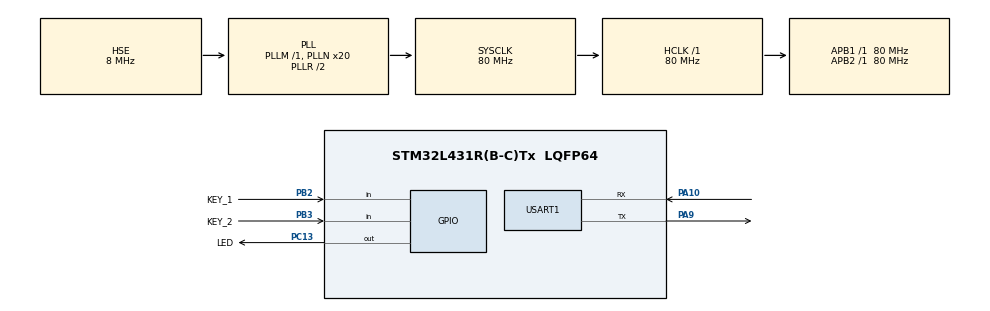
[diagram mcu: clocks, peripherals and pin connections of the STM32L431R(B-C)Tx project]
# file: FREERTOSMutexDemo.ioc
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FREERTOS.Mutexes01=myMutex01,Dynamic,NULL
FREERTOS.Tasks01=LowPriorityTask,-2,128,LowPriority,Default,NULL,Dynamic,NULL,NULL;MidPriorityTask,-1,128,MidPriority,Default,NULL,Dynamic,NULL,NULL;HighPriorityTas,0,128,HighPriority,Default,NULL,Dynamic,NULL,NULL
Mcu.Family=STM32L4
Mcu.Name=STM32L431R(B-C)Tx
Mcu.Package=LQFP64
NVIC.PriorityGroup=NVIC_PRIORITYGROUP_4
NVIC.TIM1_UP_TIM16_IRQn=true\:0\:0\:false\:false\:true\:false\:false\:true
NVIC.TimeBase=TIM1_UP_TIM16_IRQn
NVIC.TimeBaseIP=TIM1
PA10.Mode=Asynchronous
PA10.Signal=USART1_RX
PA9.Mode=Asynchronous
PA9.Signal=USART1_TX
PB2.GPIO_Label=KEY_1
PB2.GPIO_PuPd=GPIO_PULLUP
PB2.Signal=GPIO_Input
PB3\ (JTDO-TRACESWO).GPIO_Label=KEY_2
PB3\ (JTDO-TRACESWO).GPIO_PuPd=GPIO_PULLUP
PB3\ (JTDO-TRACESWO).Signal=GPIO_Input
PC13.GPIO_Label=LED
PC13.Signal=GPIO_Output
PC14-OSC32_IN\ (PC14).Mode=LSE-External-Oscillator
PC14-OSC32_IN\ (PC14).Signal=RCC_OSC32_IN
PC15-OSC32_OUT\ (PC15).Mode=LSE-External-Oscillator
PC15-OSC32_OUT\ (PC15).Signal=RCC_OSC32_OUT
PH0-OSC_IN\ (PH0).Mode=HSE-External-Oscillator
PH0-OSC_IN\ (PH0).Signal=RCC_OSC_IN
PH1-OSC_OUT\ (PH1).Mode=HSE-External-Oscillator
PH1-OSC_OUT\ (PH1).Signal=RCC_OSC_OUT
ProjectManager.HeapSize=0x200
ProjectManager.StackSize=0x400
ProjectManager.TargetToolchain=SW4STM32
RCC.ADCFreq_Value=32000000
RCC.AHBFreq_Value=80000000
RCC.APB1Freq_Value=80000000
RCC.APB1TimFreq_Value=80000000
RCC.APB2Freq_Value=80000000
RCC.APB2TimFreq_Value=80000000
RCC.CortexFreq_Value=80000000
RCC.HCLKFreq_Value=80000000
RCC.HSE_VALUE=8000000
RCC.HSI48_VALUE=48000000
RCC.HSI_VALUE=16000000
RCC.MSI_VALUE=4000000
RCC.PLLN=20
RCC.PLLSourceVirtual=RCC_PLLSOURCE_HSE
RCC.SYSCLKFreq_VALUE=80000000
RCC.SYSCLKSource=RCC_SYSCLKSOURCE_PLLCLK
RCC.VCOOutputFreq_Value=160000000
USART1.VirtualMode-Asynchronous=VM_ASYNC
VP_FREERTOS_VS_CMSIS_V1.Mode=CMSIS_V1
VP_SYS_VS_tim1.Mode=TIM1
board=custom

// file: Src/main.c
/* USER CODE BEGIN Header */
/**
  ******************************************************************************
  * @file           : main.c
  * @brief          : Main program body
  ******************************************************************************
  * @attention
  *
  * <h2><center>&copy; Copyright (c) 2020 STMicroelectronics.
  * All rights reserved.</center></h2>
  *
  * This software component is licensed by ST under Ultimate Liberty license
  * SLA0044, the "License"; You may not use this file except in compliance with
  * the License. You may obtain a copy of the License at:
  *                             www.st.com/SLA0044
  *
  ******************************************************************************
  */
/* USER CODE END Header */

#include "main.h"
#include "cmsis_os.h"
#include "usart.h"
#include "gpio.h"
#include <stdio.h>
int _write(int fd, char *ptr, int len)
{
    HAL_UART_Transmit(&huart1, (uint8_t*)ptr, len, 0xFFFF);
    return len;
}

void SystemClock_Config(void);
void MX_FREERTOS_Init(void);

int main(void)
{

  /* MCU Configuration--------------------------------------------------------*/

  /* Reset of all peripherals, Initializes the Flash interface and the Systick. */
  HAL_Init();

  /* Configure the system clock */
  SystemClock_Config();

  /* Initialize all configured peripherals */
  MX_GPIO_Init();
  MX_USART1_UART_Init();
  /* USER CODE BEGIN 2 */

  printf("FreeRTOS  Mutex Demo\n");
  /* USER CODE END 2 */

  /* Call init function for freertos objects (in freertos.c) */
  MX_FREERTOS_Init();

  /* Start scheduler */
  osKernelStart();

  /* We should never get here as control is now taken by the scheduler */

  /* Infinite loop */
  while (1)
  {

  }
}

void SystemClock_Config(void)
{
  RCC_OscInitTypeDef RCC_OscInitStruct = {0};
  RCC_ClkInitTypeDef RCC_ClkInitStruct = {0};
  RCC_PeriphCLKInitTypeDef PeriphClkInit = {0};

  /** Initializes the CPU, AHB and APB busses clocks
  */
  RCC_OscInitStruct.OscillatorType = RCC_OSCILLATORTYPE_HSE;
  RCC_OscInitStruct.HSEState = RCC_HSE_ON;
  RCC_OscInitStruct.PLL.PLLState = RCC_PLL_ON;
  RCC_OscInitStruct.PLL.PLLSource = RCC_PLLSOURCE_HSE;
  RCC_OscInitStruct.PLL.PLLM = 1;
  RCC_OscInitStruct.PLL.PLLN = 20;
  RCC_OscInitStruct.PLL.PLLP = RCC_PLLP_DIV7;
  RCC_OscInitStruct.PLL.PLLQ = RCC_PLLQ_DIV2;
  RCC_OscInitStruct.PLL.PLLR = RCC_PLLR_DIV2;
  if (HAL_RCC_OscConfig(&RCC_OscInitStruct) != HAL_OK)
  {
    Error_Handler();
  }
  /** Initializes the CPU, AHB and APB busses clocks
  */
  RCC_ClkInitStruct.ClockType = RCC_CLOCKTYPE_HCLK|RCC_CLOCKTYPE_SYSCLK
                              |RCC_CLOCKTYPE_PCLK1|RCC_CLOCKTYPE_PCLK2;
  RCC_ClkInitStruct.SYSCLKSource = RCC_SYSCLKSOURCE_PLLCLK;
  RCC_ClkInitStruct.AHBCLKDivider = RCC_SYSCLK_DIV1;
  RCC_ClkInitStruct.APB1CLKDivider = RCC_HCLK_DIV1;
  RCC_ClkInitStruct.APB2CLKDivider = RCC_HCLK_DIV1;

  if (HAL_RCC_ClockConfig(&RCC_ClkInitStruct, FLASH_LATENCY_4) != HAL_OK)
  {
    Error_Handler();
  }
  PeriphClkInit.PeriphClockSelection = RCC_PERIPHCLK_USART1;
  PeriphClkInit.Usart1ClockSelection = RCC_USART1CLKSOURCE_PCLK2;
  if (HAL_RCCEx_PeriphCLKConfig(&PeriphClkInit) != HAL_OK)
  {
    Error_Handler();
  }
  /** Configure the main internal regulator output voltage
  */
  if (HAL_PWREx_ControlVoltageScaling(PWR_REGULATOR_VOLTAGE_SCALE1) != HAL_OK)
  {
    Error_Handler();
  }
}

void HAL_TIM_PeriodElapsedCallback(TIM_HandleTypeDef *htim)
{
  if (htim->Instance == TIM1) {
    HAL_IncTick();
  }
}

void Error_Handler(void)
{
}

/************************ (C) COPYRIGHT STMicroelectronics *****END OF FILE****/

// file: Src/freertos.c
/* USER CODE BEGIN Header */
/**
  ******************************************************************************
  * File Name          : freertos.c
  * Description        : Code for freertos applications
  ******************************************************************************
  * @attention
  *
  * <h2><center>&copy; Copyright (c) 2020 STMicroelectronics.
  * All rights reserved.</center></h2>
  *
  * This software component is licensed by ST under Ultimate Liberty license
  * SLA0044, the "License"; You may not use this file except in compliance with
  * the License. You may obtain a copy of the License at:
  *                             www.st.com/SLA0044
  *
  ******************************************************************************
  */
/* USER CODE END Header */

#include "FreeRTOS.h"
#include "task.h"
#include "main.h"
#include "cmsis_os.h"
#include <stdio.h>

osThreadId LowPriorityTaskHandle;
osThreadId MidPriorityTaskHandle;
osThreadId HighPriorityTasHandle;
osMutexId myMutex01Handle;

void LowPriority(void const * argument);
void MidPriority(void const * argument);
void HighPriority(void const * argument);

void MX_FREERTOS_Init(void); /* (MISRA C 2004 rule 8.1) */

/* GetIdleTaskMemory prototype (linked to static allocation support) */
void vApplicationGetIdleTaskMemory( StaticTask_t **ppxIdleTaskTCBBuffer, StackType_t **ppxIdleTaskStackBuffer, uint32_t *pulIdleTaskStackSize );

/* USER CODE BEGIN GET_IDLE_TASK_MEMORY */
static StaticTask_t xIdleTaskTCBBuffer;
static StackType_t xIdleStack[configMINIMAL_STACK_SIZE];

void vApplicationGetIdleTaskMemory( StaticTask_t **ppxIdleTaskTCBBuffer, StackType_t **ppxIdleTaskStackBuffer, uint32_t *pulIdleTaskStackSize )
{
  *ppxIdleTaskTCBBuffer = &xIdleTaskTCBBuffer;
  *ppxIdleTaskStackBuffer = &xIdleStack[0];
  *pulIdleTaskStackSize = configMINIMAL_STACK_SIZE;
  /* place for user code */
}
/* USER CODE END GET_IDLE_TASK_MEMORY */

void MX_FREERTOS_Init(void) {

  /* Create the mutex(es) */
  /* definition and creation of myMutex01 */
  osMutexDef(myMutex01);
  myMutex01Handle = osMutexCreate(osMutex(myMutex01));

  /* Create the thread(s) */
  /* definition and creation of LowPriorityTask */
  osThreadDef(LowPriorityTask, LowPriority, osPriorityLow, 0, 128);
  LowPriorityTaskHandle = osThreadCreate(osThread(LowPriorityTask), NULL);

  /* definition and creation of MidPriorityTask */
  osThreadDef(MidPriorityTask, MidPriority, osPriorityNormal, 0, 128);
  MidPriorityTaskHandle = osThreadCreate(osThread(MidPriorityTask), NULL);

  /* definition and creation of HighPriorityTas */
  osThreadDef(HighPriorityTas, HighPriority, osPriorityHigh, 0, 128);
  HighPriorityTasHandle = osThreadCreate(osThread(HighPriorityTas), NULL);

}

void LowPriority(void const * argument)
{
  /* USER CODE BEGIN LowPriority */
  BaseType_t xReturn = pdPASS;
  /* Infinite loop */
  for(;;)
  {
    printf("LowPriority_Task申请信号量\n");
    xReturn = xSemaphoreTake(myMutex01Handle, portMAX_DELAY); //拿不到一直等
    if(xReturn == pdTRUE){
        printf("LowPriority_Task Running\n");
        for(int i = 0; i < 2000000; ++i){
            HAL_GPIO_TogglePin(LED_GPIO_Port, LED_Pin);
        }
        printf("LowPriority_Task释放信号量\n");
        xReturn = xSemaphoreGive(myMutex01Handle);
    }
    osDelay(1000);
  }
  /* USER CODE END LowPriority */
}

void MidPriority(void const * argument)
{
  /* USER CODE BEGIN MidPriority */
  /* Infinite loop */
  for(;;)
  {
    printf("MidPriority_Task Running\n");
    osDelay(1000);
  }
  /* USER CODE END MidPriority */
}

void HighPriority(void const * argument)
{
  /* USER CODE BEGIN HighPriority */
    BaseType_t xReturn = pdPASS;
    /* Infinite loop */
    for(;;)
    {
        printf("HighPriority_Task申请信号量\n");
        xReturn = xSemaphoreTake(myMutex01Handle, portMAX_DELAY); //拿不到一直等
        if(xReturn == pdTRUE){
            printf("HighPriority_Task Running\n");
            HAL_GPIO_TogglePin(LED_GPIO_Port, LED_Pin);
            printf("HighPriority_Task释放信号量\n");
            xReturn = xSemaphoreGive(myMutex01Handle);
        }
        osDelay(1000);
    }
  /* USER CODE END HighPriority */
}

/************************ (C) COPYRIGHT STMicroelectronics *****END OF FILE****/
